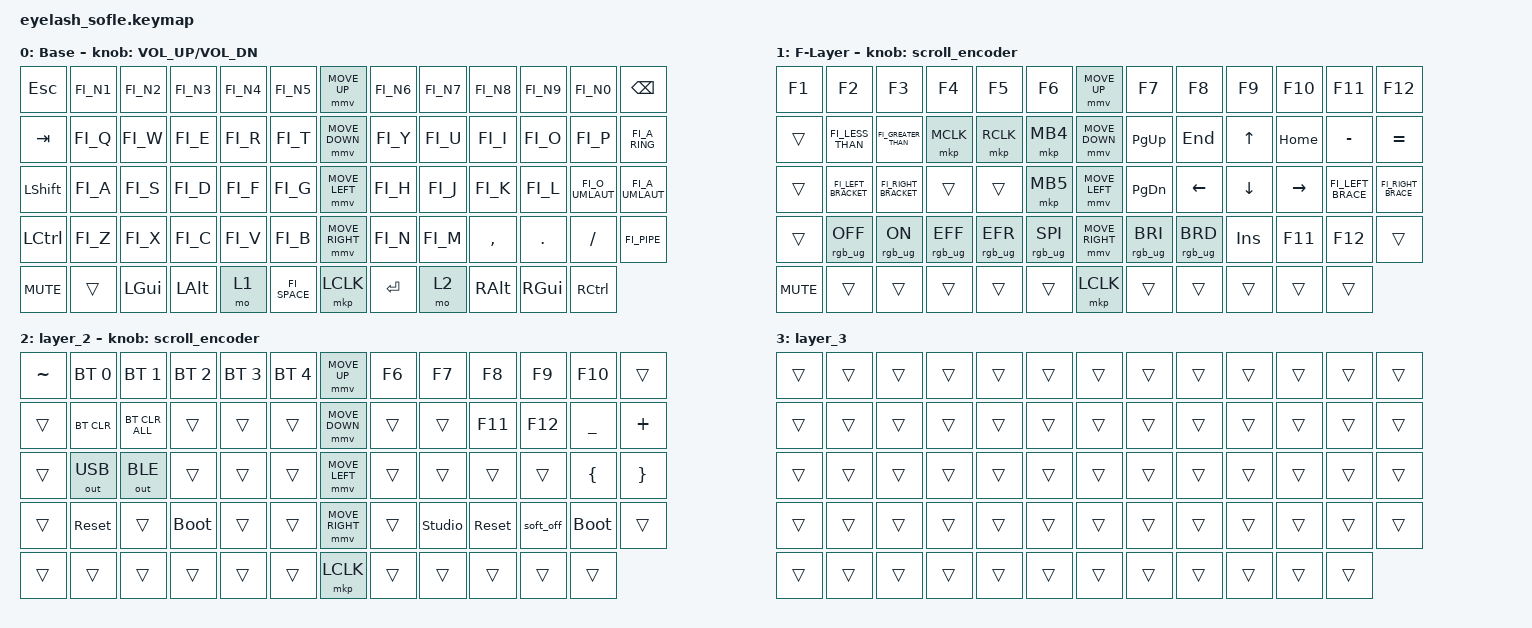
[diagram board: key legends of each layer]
#define ZMK_POINTING_DEFAULT_MOVE_VAL 1200  // 600
#define ZMK_POINTING_DEFAULT_SCRL_VAL 25   // 10

#include <input/processors.dtsi>
#include <zephyr/dt-bindings/input/input-event-codes.h>
#include <behaviors.dtsi>
#include <dt-bindings/zmk/bt.h>
#include <dt-bindings/zmk/ext_power.h>
#include <dt-bindings/zmk/keys.h>
#include <dt-bindings/zmk/pointing.h>
#include <dt-bindings/zmk/rgb.h>
#include <dt-bindings/zmk/outputs.h>
#include <locale/keys_fi.h>

&mmv_input_listener { input-processors = <&zip_xy_scaler 2 1>; };

&msc_input_listener { input-processors = <&zip_scroll_scaler 2 1>; };

&msc {
    acceleration-exponent = <1>;      // 0
    time-to-max-speed-ms = <100>;       // 300
    delay-ms = <0>;                   // 0
};

&mmv {
    time-to-max-speed-ms = <500>;
    acceleration-exponent = <1>;
    trigger-period-ms = <16>;
};


/ {

    scroll_encoder: scroll_encoder {
        compatible = "zmk,behavior-sensor-rotate";
        #sensor-binding-cells = <0>;
        bindings = <&msc SCRL_DOWN>, <&msc SCRL_UP>;
        tap-ms = <100>;
    };

    keymap {
        compatible = "zmk,keymap";

        base_layer {
            bindings = <
            &kp ESC       &kp FI_N1    &kp FI_N2    &kp FI_N3   &kp FI_N4   &kp FI_N5                        &mmv MOVE_UP     &kp FI_N6      &kp FI_N7    &kp FI_N8     &kp FI_N9    &kp FI_N0         &kp BSPC
            &kp TAB       &kp FI_Q     &kp FI_W     &kp FI_E    &kp FI_R    &kp FI_T                         &mmv MOVE_DOWN   &kp FI_Y       &kp FI_U     &kp FI_I      &kp FI_O     &kp FI_P          &kp FI_A_RING 
            &kp LSHIFT    &kp FI_A     &kp FI_S     &kp FI_D    &kp FI_F    &kp FI_G                         &mmv MOVE_LEFT   &kp FI_H       &kp FI_J     &kp FI_K      &kp FI_L     &kp FI_O_UMLAUT   &kp FI_A_UMLAUT
            &kp LCTRL     &kp FI_Z     &kp FI_X     &kp FI_C    &kp FI_V    &kp FI_B                         &mmv MOVE_RIGHT  &kp FI_N       &kp FI_M     &kp COMMA  &kp DOT   &kp SLASH  &kp FI_PIPE
            &kp C_MUTE    &trans       &kp LGUI     &kp LALT    &mo 1       &kp FI_SPACE                     &mkp LCLK        &kp ENTER      &mo 2        &kp RALT   &kp RGUI  &kp RCTRL
            >;

            sensor-bindings = <&inc_dec_kp C_VOLUME_UP C_VOL_DN>;
            display-name = "Base";
        };

        layer_1 {
            bindings = <
            &kp F1      &kp F2           &kp F3          &kp F4           &kp F5           &kp F6           &mmv MOVE_UP     &kp F7           &kp F8           &kp F9      &kp F10    &kp F11    &kp F12
            &trans      &kp FI_LESS_THAN           &kp FI_GREATER_THAN    &mkp MCLK        &mkp RCLK        &mkp MB4         &mmv MOVE_DOWN   &kp PG_UP        &kp END     &kp UP     &kp HOME   &kp MINUS          &kp EQUAL
            &trans      &kp FI_LEFT_BRACKET        &kp FI_RIGHT_BRACKET   &trans           &trans           &mkp MB5         &mmv MOVE_LEFT   &kp PG_DN        &kp LEFT    &kp DOWN   &kp RIGHT  &kp FI_LEFT_BRACE  &kp FI_RIGHT_BRACE
            &trans      &rgb_ug RGB_OFF  &rgb_ug RGB_ON  &rgb_ug RGB_EFF  &rgb_ug RGB_EFR  &rgb_ug RGB_SPI  &mmv MOVE_RIGHT  &rgb_ug RGB_BRI  &rgb_ug RGB_BRD  &kp INSERT  &kp F11    &kp F12    &trans
            &kp C_MUTE  &trans           &trans          &trans           &trans           &trans           &mkp LCLK        &trans           &trans           &trans      &trans     &trans
            >;

            display-name = "F-Layer";
            sensor-bindings = <&scroll_encoder>;
        };

        layer_2 {
            bindings = <
            &kp TILDE  &bt BT_SEL 0  &bt BT_SEL 1    &bt BT_SEL 2  &bt BT_SEL 3  &bt BT_SEL 4    &mmv MOVE_UP     &kp F6  &kp F7  &kp F8      &kp F9     &kp F10      &trans
            &trans     &bt BT_CLR    &bt BT_CLR_ALL  &trans        &trans        &trans          &mmv MOVE_DOWN   &trans  &trans  &kp F11     &kp F12    &kp UNDER    &kp PLUS
            &trans     &out OUT_USB  &out OUT_BLE    &trans        &trans        &trans          &mmv MOVE_LEFT   &trans  &trans  &trans      &trans     &kp LBRC     &kp RBRC
            &trans     &sys_reset    &trans          &bootloader   &trans        &trans          &mmv MOVE_RIGHT  &trans  &studio_unlock      &sys_reset  &soft_off  &bootloader  &trans
            &trans     &trans        &trans          &trans        &trans        &trans          &mkp LCLK        &trans  &trans  &trans      &trans     &trans
            >;

            sensor-bindings = <&scroll_encoder>;
        };

        layer_3 {
            bindings = <
            &trans  &trans  &trans  &trans  &trans  &trans    &trans  &trans  &trans  &trans  &trans  &trans  &trans
            &trans  &trans  &trans  &trans  &trans  &trans    &trans  &trans  &trans  &trans  &trans  &trans  &trans
            &trans  &trans  &trans  &trans  &trans  &trans    &trans  &trans  &trans  &trans  &trans  &trans  &trans
            &trans  &trans  &trans  &trans  &trans  &trans    &trans  &trans  &trans  &trans  &trans  &trans  &trans
            &trans  &trans  &trans  &trans  &trans  &trans    &trans  &trans  &trans  &trans  &trans  &trans
            >;
        };
    };
};
